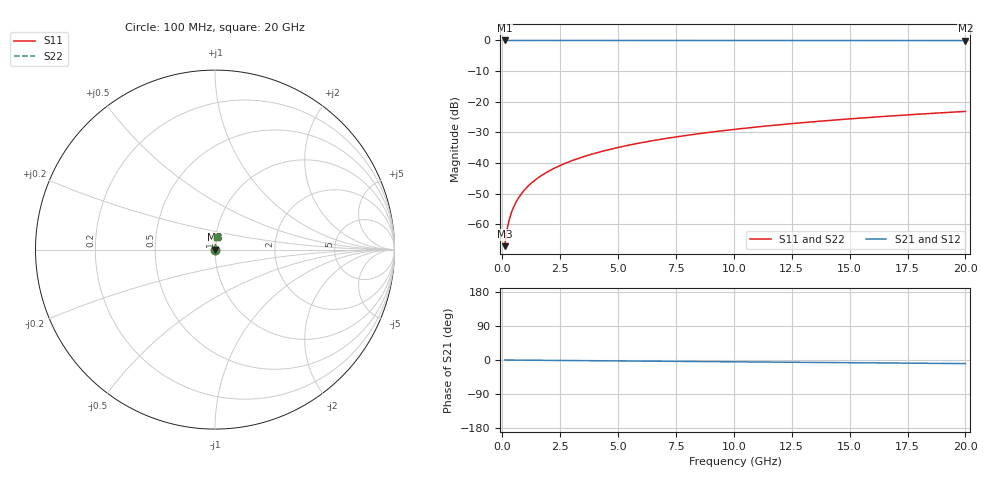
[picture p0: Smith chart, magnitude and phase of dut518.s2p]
! Touchstone file exported from HFSS 2026.1.0
!  File:  C:/ffzhzh/LocalFiles/Ansys_Project_Files/temp_train_TSV_518_1783023438_4048.aedt
!  Generated:  04:19:00 AM Jul  3, 2026
!  Design:  TSV
!  Project:  temp_train_TSV_518_1783023438_4048
! Variables:
!  h_bsmrdl = 2um
!  h_ox = 20um
!  h_rdl = 5um
!  h_sub = 81.73um
!  h_tmrdl = 5um
!  h_tsv = 81.73um
!  h_via = 3um
!  l_bsmrdl = 300um
!  l_sub = 415.08um
!  l_tmrdl = 200um
!  m_sub = 200um
!  pitch = 55.93um
!  r_tsv = 7.54um
!  s_tmrdl = 10um
!  w_bsmrdl = 18um
!  w_sub = 500um
!  w_tmrdl = 12um
!  x_tsv_center1 = 206um
!  x_tsv_center2 = 524um
!  x_tsv_center3 = 736um
!  x_tsv_center4 = 1054um
!  x_tsv_center5 = 1266um
!  x_tsv_center6 = 1584um
# GHz S MA R 50.000000
! Terminal data exported
! Port[1] = TSV1_1_T1
! Port[2] = TSV1_1_T2
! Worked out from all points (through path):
!   200 points, 100 MHz to 20 GHz, reference 50 ohm
!   highest |S21| = 0.00 dB at 100 MHz (marker M1); lowest = 0.0 dB at 20 GHz (marker M2)
!   group delay of S21, straight-line fit = 1.32 ps
!   lowest |S11| = -67.2 dB at 100 MHz (marker M3), VSWR 1.00, Z = 50 + j0.0392 ohm
!   |S11| at or under -10 dB: start of sweep to end of sweep
!   |S22| runs from -67.2 to -23.2 dB; largest |S21 - S12| = 3.2e-15
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0.1  0.0004387 63.1  0.9998 -0.0  0.9998 -0.0  0.0004387 63.1
! Gamma 0 0 0 0
! Port Impedance 50 0 50 0
0.2  0.0008084 75.0  0.9998 -0.1  0.9998 -0.1  0.0008083 75.0
0.3  0.001189 79.1  0.9998 -0.1  0.9998 -0.1  0.001189 79.1
0.4  0.001569 81.0  0.9998 -0.2  0.9998 -0.2  0.001569 81.0
0.5  0.001946 82.1  0.9997 -0.2  0.9997 -0.2  0.001946 82.1
0.6  0.002319 82.7  0.9997 -0.3  0.9997 -0.3  0.002319 82.7
0.7  0.002688 83.2  0.9997 -0.3  0.9997 -0.3  0.002688 83.2
0.8  0.003054 83.5  0.9997 -0.4  0.9997 -0.4  0.003054 83.5
1  0.003779 84.0  0.9996 -0.5  0.9996 -0.5  0.003779 84.0
1.4  0.00521 84.6  0.9996 -0.7  0.9996 -0.7  0.00521 84.6
1.7  0.006276 84.9  0.9995 -0.8  0.9995 -0.8  0.006276 84.9
2  0.00734 85.1  0.9995 -1.0  0.9995 -1.0  0.00734 85.1
2.7  0.009818 85.3  0.9994 -1.3  0.9994 -1.3  0.009818 85.3
3.5  0.01264 85.4  0.9993 -1.7  0.9993 -1.7  0.01264 85.4
4.2  0.0151 85.3  0.9992 -2.0  0.9992 -2.0  0.0151 85.3
5  0.01791 85.1  0.9991 -2.4  0.9991 -2.4  0.01791 85.1
6.8  0.02419 84.6  0.9988 -3.3  0.9988 -3.3  0.02419 84.6
8.3  0.0294 84.1  0.9986 -4.0  0.9986 -4.0  0.0294 84.1
10.1  0.03563 83.4  0.9983 -4.8  0.9983 -4.8  0.03563 83.4
13.4  0.04698 82.1  0.9976 -6.4  0.9976 -6.4  0.04698 82.1
16.7  0.05826 80.7  0.9969 -7.9  0.9969 -7.9  0.05826 80.7
20  0.06944 79.2  0.996 -9.5  0.996 -9.5  0.06944 79.2
